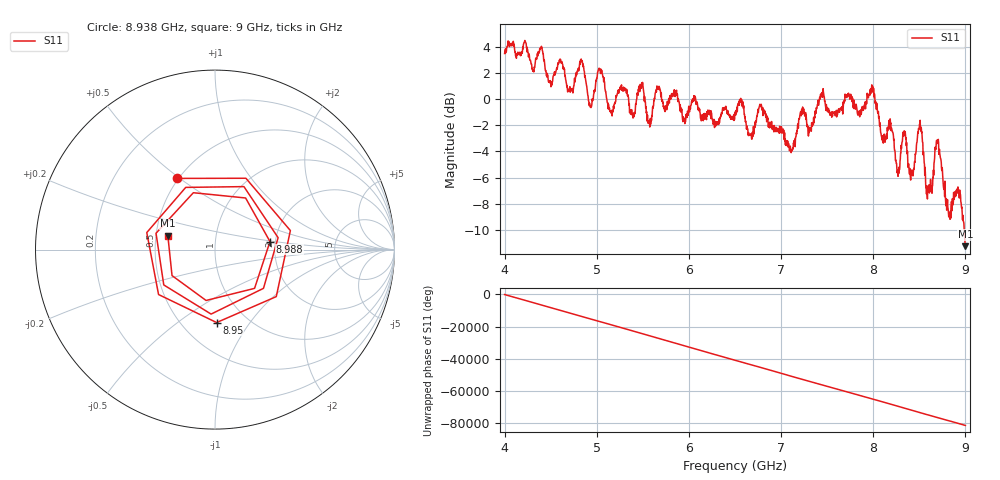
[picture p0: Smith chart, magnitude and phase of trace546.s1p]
! Created with skrf 1.8.0 (http://scikit-rf.org).
# Hz S RI R 50.0
!freq ReS11 ImS11
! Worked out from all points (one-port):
!   1601 points, 4 GHz to 9 GHz, reference 50 ohm
!   lowest |S11| = -11.2 dB at 9 GHz (marker M1), VSWR 1.76, Z = 28.9 + j4.87 ohm
!   |S11| at or under -10 dB: 8.986902 GHz to end of sweep
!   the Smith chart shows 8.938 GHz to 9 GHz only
!   S11 on the Smith chart (normalised r, x): 8.938 GHz: 0.49, +0.49; 8.95 GHz: 0.73, -0.71; 8.988 GHz: 1.87, +0.18; 9 GHz: 0.58, +0.10
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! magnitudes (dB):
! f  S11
! 4 GHz  3.5
! 4.625 GHz  2.7
! 4.719 GHz  0.7
! 4.838 GHz  2.8
! 4.934 GHz  -0.6
! 5.031 GHz  2.3
! 5.153 GHz  -1.0
! 5.25 GHz  0.7
! 5.391 GHz  -1.2
! 5.488 GHz  1.0
! 5.569 GHz  -1.7
! 5.875 GHz  0.4
! 6.5 GHz  -1.3
! 7.125 GHz  -3.8
! 7.228 GHz  -1.2
! 7.75 GHz  0.3
! 7.991 GHz  0.9
! 8.262 GHz  -5.5
! 8.375 GHz  -4.8
! 8.425 GHz  -5.5
! 8.506 GHz  -2.1
! 8.594 GHz  -6.7
! 8.694 GHz  -3.3
! 8.812 GHz  -8.4
! 8.938 GHz  -7.0
! 8.95 GHz  -7.8
! 8.988 GHz  -10.2
! 9 GHz  -11.2
